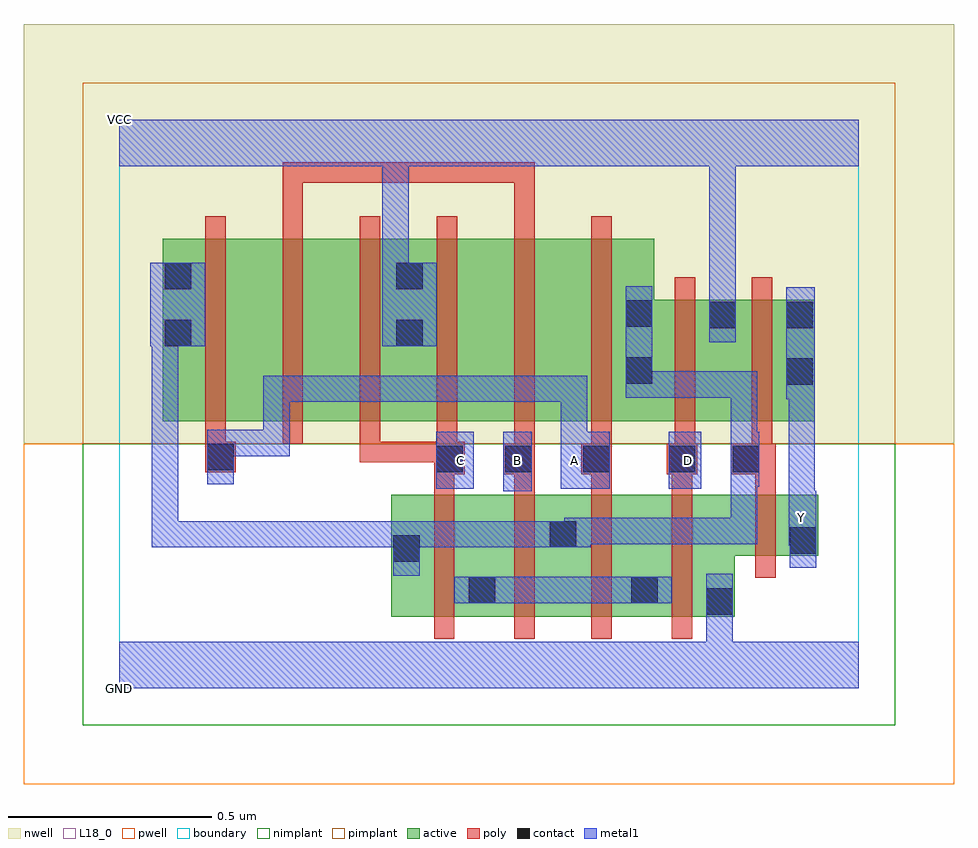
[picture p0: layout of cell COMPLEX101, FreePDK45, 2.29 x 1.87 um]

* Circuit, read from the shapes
.subckt COMPLEX101 A B C D GND VCC Y
M1 n1 C n2 VSUBS nfet w=0.3u l=0.05u
M2 n2 B n1 VSUBS nfet w=0.3u l=0.05u
M3 n1 A n2 VSUBS nfet w=0.3u l=0.05u
M4 GND D n1 VSUBS nfet w=0.3u l=0.05u
M5 Y n2 GND VSUBS nfet w=0.15u l=0.05u
M6 n3 A n2 n4 pfet w=0.45u l=0.05u
M7 n5 B n3 n4 pfet w=0.45u l=0.05u
M8 VCC C n5 n4 pfet w=0.45u l=0.05u
M9 n6 C VCC n4 pfet w=0.45u l=0.05u
M10 n7 B n6 n4 pfet w=0.45u l=0.05u
M11 n2 A n7 n4 pfet w=0.45u l=0.05u
M12 VCC D n2 n4 pfet w=0.3u l=0.05u
M13 Y n2 VCC n4 pfet w=0.3u l=0.05u
.ends

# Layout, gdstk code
import gdstk
lib = gdstk.Library(unit=1e-6, precision=1e-09)
def R(c, l, rs):  # rectangles x0, y0, x1, y1
    for r in rs: c.add(gdstk.rectangle(r[:2], r[2:], *l))
def A(c, l, x, y, w, h, nx, ny, dx, dy):  # array of equal rectangles
    R(c, l, [(x+i*dx, y+j*dy, x+i*dx+w, y+j*dy+h) for i in range(nx) for j in range(ny)])
active = (1, 0)
pwell = (2, 0)
nwell = (3, 0)
nimplant = (4, 0)
pimplant = (5, 0)
poly = (9, 0)
contact = (10, 0)
metal1 = (11, 0)
L18_0 = (18, 0)
boundary = (235, 0)

complex101 = lib.new_cell('COMPLEX101')
R(complex101, active, [(0.67,0.177,0.93,0.477), (0.855,0.177,1.13,0.477), (1.055,0.177,1.33,0.477), (1.255,0.177,1.515,0.477), (1.44,0.177,1.515,0.4), (0.67,0.2,0.745,0.477), (0.855,0.2,0.93,0.392), (1.255,0.2,1.33,0.4), (1.055,0.247,1.13,0.417), (1.44,0.327,1.72,0.477), (1.645,0.327,1.72,0.477), (0.107,0.657,0.332,1.107), (0.107,0.657,0.182,1.107), (0.332,0.657,0.522,1.107), (0.522,0.657,0.752,1.107), (0.677,0.657,0.902,1.107), (0.902,0.657,1.092,1.107), (1.092,0.657,1.317,1.107), (1.242,0.657,1.522,0.957), (1.447,0.657,1.712,0.957), (1.637,0.657,1.712,0.957), (0.677,0.732,0.752,1.107), (1.242,0.745,1.317,0.96), (1.447,0.817,1.522,0.957)])
R(complex101, pwell, [(-0.235,-0.235,2.055,0.602)])
R(complex101, nwell, [(-0.235,0.602,2.055,1.635)])
R(complex101, nimplant, [(-0.09,-0.09,1.91,0.602)])
R(complex101, pimplant, [(-0.09,0.602,1.91,1.49)])
A(complex101, poly, 0.212, 0.602, 0.05, 0.56, 6, 1, 0.19, 0)
R(complex101, poly, [(0.775,0.122,0.825,0.532), (0.972,0.122,1.022,0.532), (1.162,0.122,1.212,0.532), (1.36,0.122,1.41,0.532), (1.565,0.272,1.615,0.532), (0.775,0.482,0.825,0.577), (0.972,0.482,1.022,0.577), (1.162,0.482,1.212,0.577), (1.36,0.482,1.41,0.577), (1.565,0.482,1.615,0.577), (0.775,0.527,0.85,0.607), (0.945,0.527,1.022,0.602), (1.137,0.527,1.212,0.602), (1.347,0.527,1.422,0.602), (1.505,0.527,1.615,0.602), (0.212,0.532,0.287,0.607), (0.972,0.552,1.022,0.652), (1.162,0.552,1.212,0.652), (1.367,0.552,1.417,0.652), (1.557,0.552,1.607,0.652), (0.212,0.557,0.262,0.652), (0.592,0.557,0.642,0.652), (0.592,0.557,0.642,0.607), (0.592,0.557,0.642,0.607), (0.592,0.557,0.642,0.607), (0.592,0.557,0.825,0.607), (0.782,0.557,0.832,0.652), (1.367,0.602,1.417,1.012), (1.557,0.602,1.607,1.012), (0.402,1.112,0.452,1.295), (0.972,1.112,1.022,1.295), (0.402,1.245,0.452,1.295), (0.402,1.245,0.452,1.295), (0.402,1.245,0.452,1.295), (0.402,1.245,0.585,1.295), (0.535,1.245,0.585,1.295), (0.535,1.245,0.775,1.295), (0.725,1.245,0.775,1.295), (0.725,1.245,0.775,1.295), (0.725,1.245,0.775,1.295), (0.725,1.245,1.022,1.295), (0.972,1.245,1.022,1.295), (0.972,1.245,1.022,1.295), (0.972,1.245,1.022,1.295)])
R(complex101, contact, [(1.445,0.182,1.51,0.247), (0.86,0.21,0.925,0.275), (1.26,0.21,1.325,0.275), (0.675,0.312,0.74,0.377), (1.65,0.332,1.715,0.397), (1.06,0.347,1.125,0.412), (0.78,0.532,0.845,0.597), (0.95,0.532,1.015,0.597), (1.142,0.532,1.207,0.597), (1.352,0.532,1.417,0.597), (1.51,0.532,1.575,0.597), (0.217,0.537,0.282,0.602), (1.642,0.747,1.707,0.812), (1.247,0.75,1.312,0.815), (0.112,0.842,0.177,0.907), (0.682,0.842,0.747,0.907), (1.452,0.887,1.517,0.952), (1.642,0.887,1.707,0.952), (1.247,0.89,1.312,0.955), (0.112,0.982,0.177,1.047), (0.682,0.982,0.747,1.047)])
R(complex101, metal1, [(0,0,1.82,0.115), (1.445,0.05,1.51,0.115), (1.445,0.05,1.51,0.115), (1.445,0.05,1.51,0.212), (1.445,0.147,1.51,0.282), (0.825,0.21,0.96,0.275), (0.895,0.21,0.96,0.275), (0.895,0.21,0.96,0.275), (0.895,0.21,1.152,0.275), (1.087,0.21,1.152,0.275), (1.087,0.21,1.152,0.275), (1.087,0.21,1.152,0.275), (1.087,0.21,1.29,0.275), (1.225,0.21,1.36,0.275), (0.675,0.277,0.74,0.412), (1.65,0.297,1.715,0.432), (0.08,0.347,0.145,0.412), (0.08,0.347,0.145,0.412), (0.08,0.347,0.145,0.412), (0.08,0.347,0.145,0.412), (0.08,0.347,0.145,0.412), (0.08,0.347,0.42,0.412), (0.08,0.347,0.145,0.907), (0.355,0.347,0.42,0.412), (0.355,0.347,0.42,0.412), (0.355,0.347,0.42,0.412), (0.355,0.347,0.575,0.412), (0.51,0.347,0.575,0.412), (0.51,0.347,0.575,0.412), (0.51,0.347,0.575,0.412), (0.51,0.347,0.74,0.412), (0.675,0.347,0.74,0.412), (0.675,0.347,0.74,0.412), (0.675,0.347,0.877,0.412), (0.812,0.347,0.877,0.412), (0.812,0.347,0.877,0.412), (0.812,0.347,0.877,0.412), (0.812,0.347,1.09,0.412), (1.025,0.347,1.16,0.412), (1.095,0.347,1.16,0.412), (1.095,0.347,1.16,0.42), (1.647,0.352,1.715,0.487), (1.095,0.355,1.372,0.42), (1.307,0.355,1.372,0.42), (1.307,0.355,1.372,0.42), (1.307,0.355,1.372,0.42), (1.307,0.355,1.57,0.42), (1.505,0.355,1.57,0.42), (1.505,0.355,1.57,0.562), (1.65,0.367,1.715,0.432), (1.647,0.422,1.712,0.777), (0.945,0.485,1.015,0.632), (0.78,0.492,0.872,0.632), (1.087,0.492,1.207,0.632), (1.352,0.492,1.432,0.632), (1.505,0.497,1.57,0.562), (1.505,0.497,1.575,0.562), (1.505,0.497,1.57,0.78), (1.51,0.497,1.575,0.632), (0.217,0.502,0.282,0.637), (1.087,0.567,1.152,0.632), (1.087,0.567,1.152,0.632), (1.087,0.567,1.152,0.77), (0.217,0.572,0.42,0.637), (0.355,0.572,0.42,0.637), (0.355,0.572,0.42,0.77), (0.355,0.705,0.42,0.77), (0.355,0.705,0.42,0.77), (0.355,0.705,0.42,0.77), (0.355,0.705,0.575,0.77), (0.51,0.705,0.575,0.77), (0.51,0.705,0.575,0.77), (0.51,0.705,0.575,0.77), (0.51,0.705,0.74,0.77), (0.675,0.705,0.74,0.77), (0.675,0.705,0.74,0.77), (0.675,0.705,0.74,0.77), (0.675,0.705,0.952,0.77), (0.887,0.705,0.952,0.77), (0.887,0.705,0.972,0.77), (0.907,0.705,0.972,0.77), (0.907,0.705,1.152,0.77), (1.087,0.705,1.152,0.77), (1.642,0.712,1.712,0.987), (1.247,0.715,1.312,0.78), (1.247,0.715,1.312,0.78), (1.247,0.715,1.57,0.78), (1.247,0.715,1.312,0.99), (1.505,0.715,1.57,0.78), (0.077,0.842,0.212,1.047), (0.647,0.842,0.782,1.047), (1.452,0.852,1.517,0.987), (1.452,0.922,1.517,1.35), (0.647,0.982,0.712,1.35), (0,1.285,1.82,1.4), (0.647,1.285,0.712,1.35), (0.647,1.285,0.712,1.35), (1.452,1.285,1.517,1.35), (1.452,1.285,1.517,1.35), (1.452,1.285,1.517,1.35), (1.452,1.285,1.517,1.35)])
A(complex101, L18_0, 0.807, 0.527, 0.065, 0.065, 3, 1, 0.14, 0)
R(complex101, L18_0, [(0,0,1.82,0.115), (1.445,0.05,1.51,0.115), (1.445,0.05,1.51,0.115), (1.445,0.05,1.51,0.212), (1.445,0.147,1.51,0.282), (1.65,0.297,1.715,0.432), (1.647,0.352,1.715,0.487), (1.65,0.367,1.715,0.432), (1.647,0.387,1.712,0.452), (1.647,0.422,1.712,0.777), (0.945,0.485,1.015,0.632), (0.78,0.492,0.872,0.632), (1.087,0.492,1.207,0.632), (1.352,0.492,1.432,0.632), (0.217,0.502,0.282,0.637), (1.367,0.527,1.432,0.592), (1.087,0.567,1.152,0.632), (1.087,0.567,1.152,0.632), (1.087,0.567,1.152,0.77), (0.217,0.572,0.42,0.637), (0.355,0.572,0.42,0.637), (0.355,0.572,0.42,0.77), (0.355,0.705,0.42,0.77), (0.355,0.705,0.42,0.77), (0.355,0.705,0.42,0.77), (0.355,0.705,0.575,0.77), (0.51,0.705,0.575,0.77), (0.51,0.705,0.575,0.77), (0.51,0.705,0.575,0.77), (0.51,0.705,0.74,0.77), (0.675,0.705,0.74,0.77), (0.675,0.705,0.74,0.77), (0.675,0.705,0.74,0.77), (0.675,0.705,0.952,0.77), (0.887,0.705,0.952,0.77), (0.887,0.705,0.972,0.77), (0.907,0.705,0.972,0.77), (0.907,0.705,1.152,0.77), (1.087,0.705,1.152,0.77), (1.642,0.712,1.712,0.987), (0.647,0.842,0.782,1.047), (1.452,0.852,1.517,0.987), (1.452,0.922,1.517,1.35), (0.647,0.982,0.712,1.35), (0,1.285,1.82,1.4), (0.647,1.285,0.712,1.35), (0.647,1.285,0.712,1.35), (1.452,1.285,1.517,1.35), (1.452,1.285,1.517,1.35), (1.452,1.285,1.517,1.35), (1.452,1.285,1.517,1.35)])
R(complex101, boundary, [(0,0,1.82,1.4)])
complex101.add(gdstk.Label('A', (1.12,0.56), layer=11, texttype=0))
complex101.add(gdstk.Label('B', (0.98,0.56), layer=11, texttype=0))
complex101.add(gdstk.Label('C', (0.84,0.56), layer=11, texttype=0))
complex101.add(gdstk.Label('D', (1.4,0.56), layer=11, texttype=0))
complex101.add(gdstk.Label('Y', (1.68,0.42), layer=11, texttype=0))
complex101.add(gdstk.Label('VCC', (0,1.4), layer=11, texttype=0))
complex101.add(gdstk.Label('GND', (0,0), layer=11, texttype=0))

lib.write_gds('COMPLEX101.gds')
